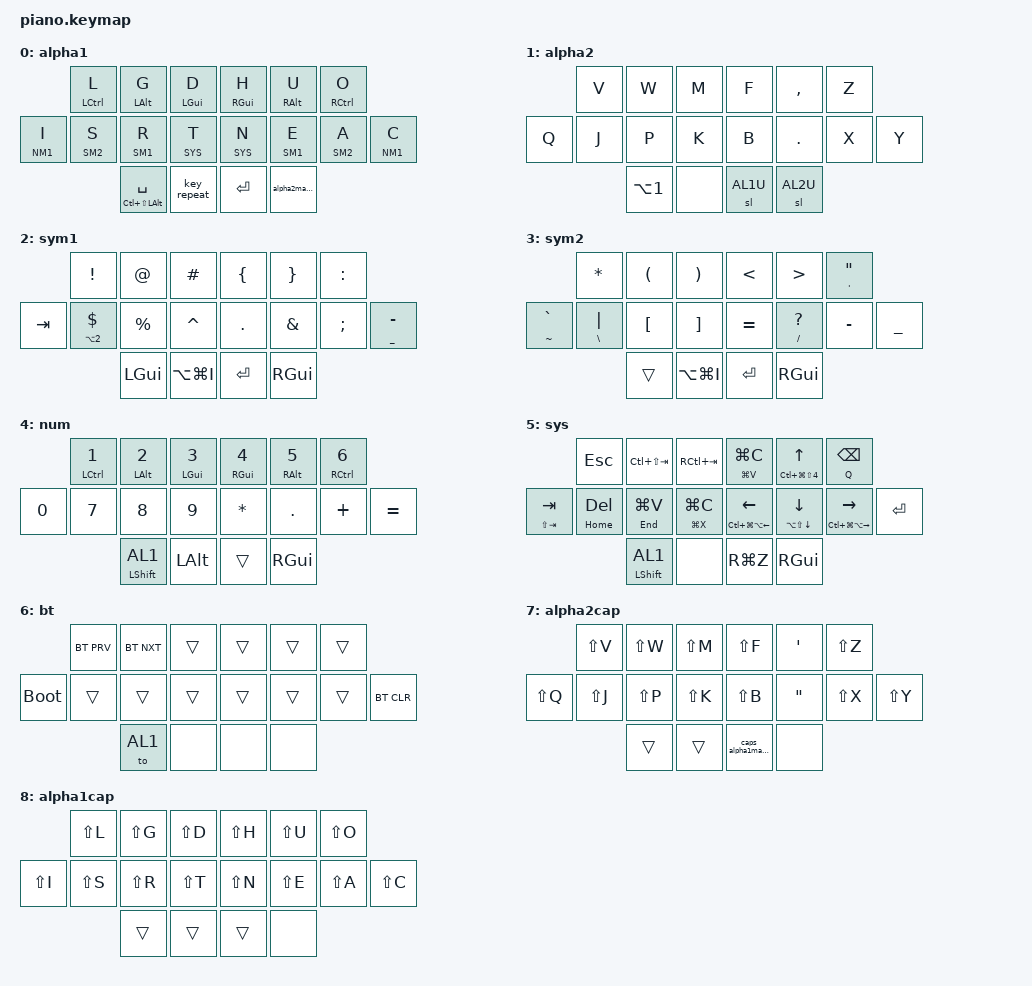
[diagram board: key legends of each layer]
/*
 * Copyright (c) 2020 The ZMK Contributors
 *
 * SPDX-License-Identifier: MIT
 */

#include <behaviors.dtsi>
#include <dt-bindings/zmk/keys.h>
#include <dt-bindings/zmk/bt.h>
#include <dt-bindings/zmk/mouse.h>



&mt {
    tapping-term-ms = <201>;
    flavor = "tap-preferred";
 };
&sk {
     release-after-ms = <2000>;
     quick-release;
 };
 
/* Layers */
#define AL1 0
#define AL2 1
#define SM1 2
#define SM2 3	
#define NM1 4	
#define SYS 5
#define BT 6	
#define AL2U 7
#define AL1U 8
/ { 
    combos {
        compatible = "zmk,combos";
        combo_sys {
            timeout-ms = <30>;
	    key-positions = <3 4 5>;
            bindings = <&to SYS>;
        };
        combo_caps {
            timeout-ms = <30>;
	    key-positions = <10 11 12>;
            bindings = <&caps_word>;
        };
        combo_bt  {
            timeout-ms = <10>;
            key-positions = <11 12>;
            bindings = <&to BT>;
	    layers = <SM1>; 
        };
        lalt {
            timeout-ms = <20>;
	    key-positions = <8 9>;
            bindings = <&kp LALT>; 
	    layers = <SYS>; 
        };
        lclk {
            timeout-ms = <20>;
	    key-positions = <10 11>;
            bindings = <&mkp LCLK>;
	    layers = <SYS>;
        };
        rclk {
            timeout-ms = <20>;
	    key-positions = <3 4>;
            bindings = <&mkp RCLK>;
	    layers = <SYS>;
        };


    };

    behaviors {
        hm_l: homerow_mods_left {
            compatible = "zmk,behavior-hold-tap";
            label = "HOMEROW_MODS_L";
            #binding-cells = <2>;
            tapping-term-ms = <300>;
            quick-tap-ms = <250>;
            flavor = "tap-preferred";
            bindings = <&kp>, <&kp>;
	    hold-trigger-key-positions = <3 4 5 10 11 12 13 14>; // right hand
        };
        hm_r: homerow_mods_right {
            compatible = "zmk,behavior-hold-tap";
            label = "HOMEROW_MODS_R";
            #binding-cells = <2>;
            tapping-term-ms = <300>;
            quick-tap-ms = <250>;
            flavor = "tap-preferred";
            bindings = <&kp>, <&kp>;
	    hold-trigger-key-positions = <0 1 2 6 7 8 9>; // left hand
        };
        sr: shift_layer {
            compatible = "zmk,behavior-hold-tap";
            label = "SHIFT_LAYER";
            #binding-cells = <2>;
            tapping-term-ms = <300>;
            quick_tap_ms = <0>;
            flavor = "tap-preferred";
            bindings = <&kp>, <&to>;
	    retro-tap;
        };
        hl_l: homerow_layers_left {
            compatible = "zmk,behavior-hold-tap";
            label = "HOMEROW_LAYERS_L";
            #binding-cells = <2>;
            tapping-term-ms = <220>;
            quick-tap-ms = <250>;
            flavor = "tap-preferred";
            bindings = <&mo>, <&kp>;
	    hold-trigger-key-positions = <3 4 5 10 11 12 13 14>; // right hand
        };
        hl_r: homerow_layers_right {
            compatible = "zmk,behavior-hold-tap";
            label = "HOMEROW_LAYERS_R";
            #binding-cells = <2>;
            tapping-term-ms = <220>;
            quick-tap-ms = <250>;
            flavor = "tap-preferred";
            bindings = <&mo>, <&kp>;
	    hold-trigger-key-positions = <0 1 2 6 7 8 9>; // left hand
        };
	td: tapdance {
            compatible = "zmk,behavior-hold-tap";
            label = "TAPDANCE";
            #binding-cells = <2>;
            tapping-term-ms = <190>;
            quick-tap-ms = <250>;
            flavor = "tap-preferred";
            bindings = <&kp>, <&kp>;
        };
	alpha2macro: behavior_macro_1 {
		compatible = "zmk,behavior-macro";
		label = "MACRO1";
		#binding-cells = <0>;
		bindings = < &sl AL2 >;
	};
	caps_alpha2macro: behavior_macro_2 {
		compatible = "zmk,behavior-macro";
		label = "MACRO2";
		#binding-cells = <0>;
		bindings = < &sl AL2U >;
	};
    caps_alpha1macro: behavior_macro_3 {
		compatible = "zmk,behavior-macro";
		label = "MACRO3";
		#binding-cells = <0>;
		bindings = < &sl AL1U >;
	};
    };
// 				0		1		2					3		4			5
// 		6		7		8		9 					10		11			12 		13
//								14	15 	16 	17		
       keymap {
                compatible = "zmk,keymap";
                
       		alpha1 {
		bindings = <
		 		&hm_l LCTL L 	&hm_l LALT G 	&hm_l LGUI D		&hm_r RGUI H 	&hm_r RALT U    	&hm_r RCTL O	  
		&hl_l NM1 I	&hl_l SM2 S	&hl_l SM1 R	&hl_l SYS T 	 	&hl_r SYS N    	&hl_r SM1 E   		&hl_r SM2 A 	&hl_r NM1 C
			 	 		 		&mt LC(LS(LALT)) SPC &key_repeat		&kp RET	&alpha2macro	 	
		>;
		};
       		alpha2 {
		bindings = <
		 	 		&kp V 		&kp W		&kp M	 	 	&kp F    	&kp COMMA		&kp Z 		
		&kp Q	 	&kp J 		&kp P		&kp K 		&kp B 		&kp DOT			&kp X		&kp Y 
			 	 		 		&kp LA(N1)	&none			&sl AL1U 	&sl AL2U	
		>;
		};
		
       		sym1 {
		bindings = <
		 			&kp EXCL   			&kp AT			&kp HASH	    &kp LBRC		&kp RBRC		&kp COLON	
		&kp TAB		&td LA(N2) DLLR		&kp PRCNT      	&kp CARET	 	&kp DOT			&kp AMPS	 	&kp SEMI 	&td UNDER MINUS
				  						&kp LGUI  		&kp LA(LG(I))	&kp RET  		&kp RGUI
		>;
		};

		sym2 {
		bindings = <
							&kp STAR		&kp LPAR	&kp RPAR		&kp LT			&kp GT 				&td SQT DQT
		&td TILDE GRAVE  	&td BSLH PIPE	&kp LBKT	&kp RBKT   		&kp EQUAL  		&td FSLH QMARK		&kp MINUS		&kp UNDER 
		 		                			&trans  	&kp LA(LG(I))  	&kp RET  		&kp RGUI

		>;
		};

		num {
		bindings = <
					&hm_l LCTL N1 	&hm_l LALT N2	&hm_l LGUI N3 		&hm_r RGUI N4 		&hm_r RALT N5		&hm_r RCTL N6	
		&kp N0		&kp N7 			&kp N8			&kp N9				&kp ASTRK			&kp DOT				&kp PLUS   		&kp EQUAL
							&sr LSHIFT AL1 			&kp LALT 			&trans 				&kp RGUI  	 
		>;
		};

		sys {
		bindings = <
				 			&kp ESC			&kp LC(LS(TAB)) 	&kp RC(TAB)			&td LG(V) LG(C) 			&td LC(LG(LS(N4))) UP 		&td Q BKSP 			
		&td LS(TAB) TAB		&td HOME DEL	&td END LG(V) 		&td LG(X) LG(C)		&td LC(LG(LA(LEFT))) LEFT  	&td LA(LS(DOWN)) DOWN 		&td LC(LG(LA(RIGHT))) RIGHT 		&kp RET 
		 			 		 				&sr LSHIFT AL1 		&none 				&kp RG(Z) 					&kp RGUI		
		>;
		};

		bt {
		bindings = <
						&bt BT_PRV		&bt BT_NXT		&trans 			&trans 		&trans		&trans	
		&bootloader  	&trans 			&trans 			&trans 			&trans 		&trans 		&trans		&bt BT_CLR
		 	 	 						&to AL1			&none 			&none		&none
		>;
		};

       		alpha2cap {
		bindings = <
		 	 		&kp LS(V)	&kp LS(W)	&kp LS(M) 	 	&kp LS(F)    		&kp SQT				&kp LS(Z)	
		&kp LS(Q) 	&kp LS(J) 	&kp LS(P)	&kp LS(K)		&kp LS(B)			&kp DQT	&kp LS(X)	&kp LS(Y) 
			 					&trans 		&trans 			&caps_alpha1macro	&none
		>;
		};

        	alpha1cap {
		bindings = <
		 	 		&kp LS(L)	&kp LS(G)	&kp LS(D) 	 	&kp LS(H)    	&kp LS(U)	&kp LS(O)	
		&kp LS(I) 	&kp LS(S) 	&kp LS(R)	&kp LS(T)		&kp LS(N)		&kp LS(E)	&kp LS(A)	&kp LS(C) 
			 					&trans 		&trans 			&trans			&none
		>;
		};
        
	};
};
